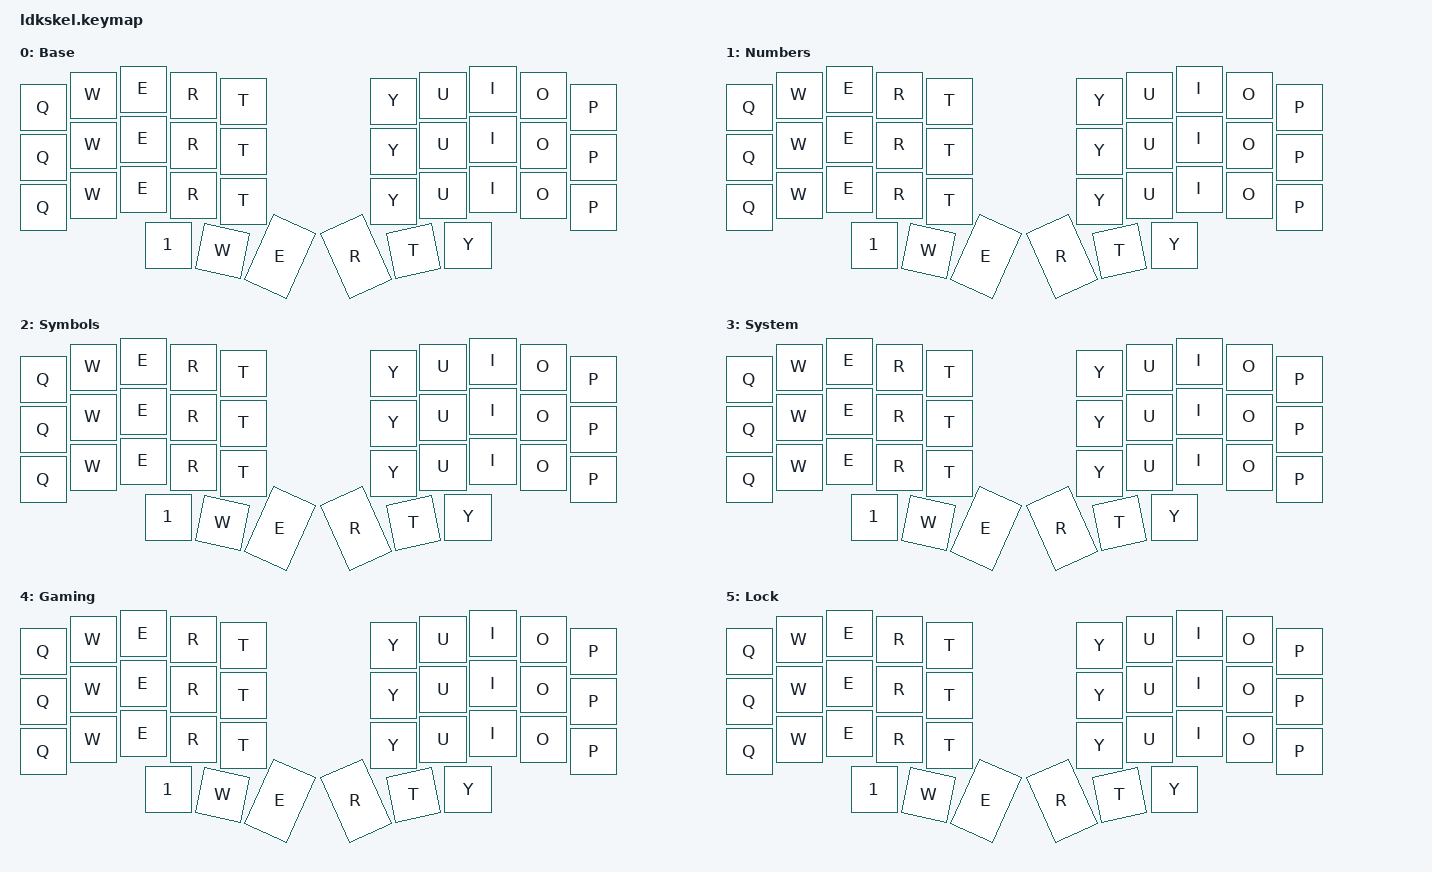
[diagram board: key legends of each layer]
#include <behaviors.dtsi>
#include <dt-bindings/zmk/keys.h>
#include <dt-bindings/zmk/bt.h>

#define BASE 0
#define NUMBERS 1
#define SYMBOLS 2
#define SYSTEM 3
#define GAMING 4
#define LOCK 5

// Behavior Overrides
&lt {
  tapping-term-ms = <200>;
  flavor = "hold-preferred";
};

/ {
  macros {
    // Spotlight
    spotlight: spotlight {
      compatible = "zmk,behavior-macro";
      #binding-cells = <0>;
      bindings = <&macro_press &kp LGUI>, <&macro_tap &kp SPACE>, <&macro_release &kp LGUI>; 
    };

    // Emoji
    windows_emoji: windows_emoji {
      compatible = "zmk,behavior-macro";
      #binding-cells = <0>;
      bindings = <&macro_press &kp LGUI>, <&macro_tap &kp DOT>, <&macro_release &kp LGUI>; 
    };

    // Win + Tab
    win_tab: win_tab {
      compatible = "zmk,behavior-macro";
      #binding = <0>;
      bindings = <&macro_press &kp LGUI>, <&macro_tap &kp TAB>, <&macro_release &kp LGUI>;
    };
  };

  behaviors {
    bm: bottom_row_mods {
      compatible = "zmk,behavior-hold-tap";
      #binding-cells = <2>;
      tapping-term-ms = <135>;
      quick-tap-ms = <0>;
      flavor = "tap-preferred";
      bindings = <&kp>, <&kp>;
    };

    cm: code_row_mods {
      compatible = "zmk,behavior-hold-tap";
      #binding-cells = <2>;
      tapping-term-ms = <200>;
      quick-tap-ms = <0>;
      flavor = "tap-preferred";
      bindings = <&kp>, <&kp>;
      retro-tap;
    };

    sm: space_mod {
      compatible = "zmk,behavior-hold-tap";
      #binding-cells = <2>;
      flavor = "balanced";
      tapping-term-ms = <200>;
      quick-tap-ms = <125>;
      bindings = <&kp>, <&kp>;
    };

    td_multi_mac: tap_dance_multi_mac {
      compatible = "zmk,behavior-tap-dance";
      #binding-cells = <0>;
      tapping-term-ms = <200>;
      bindings = <&sm ESC LALT>, <&spotlight>, <&kp LCTRL>, <&mac_emoji>;
    };

    td_multi_windows: tap_dance_multi_windows {
      compatible = "zmk,behavior-tap-dance";
      #binding-cells = <0>;
      tapping-term-ms = <200>;
      bindings = <&sm ESC LALT>, <&kp LGUI>, <&windows_emoji>;
    };
  };

  keymap {
    compatible = "zmk,keymap";

    mac_default_layer {
      display-name = "Base";
      bindings = <
        &kp Q     &kp W     &kp E     &kp R     &kp T     &kp Y     &kp U     &kp I     &kp O     &kp P
        &kp Q     &kp W     &kp E     &kp R     &kp T     &kp Y     &kp U     &kp I     &kp O     &kp P
        &kp Q     &kp W     &kp E     &kp R     &kp T     &kp Y     &kp U     &kp I     &kp O     &kp P
        &kp 1     &kp W     &kp E     &kp R     &kp T     &kp Y
      >;
    };

    windows_default_layer {
      display-name = "Numbers";
      bindings = <
        &kp Q     &kp W     &kp E     &kp R     &kp T     &kp Y     &kp U     &kp I     &kp O     &kp P
        &kp Q     &kp W     &kp E     &kp R     &kp T     &kp Y     &kp U     &kp I     &kp O     &kp P
        &kp Q     &kp W     &kp E     &kp R     &kp T     &kp Y     &kp U     &kp I     &kp O     &kp P
        &kp 1     &kp W     &kp E     &kp R     &kp T     &kp Y
      >;

    };

    gaming_layer {
      display-name = "Symbols";
      bindings = <
        &kp Q     &kp W     &kp E     &kp R     &kp T     &kp Y     &kp U     &kp I     &kp O     &kp P
        &kp Q     &kp W     &kp E     &kp R     &kp T     &kp Y     &kp U     &kp I     &kp O     &kp P
        &kp Q     &kp W     &kp E     &kp R     &kp T     &kp Y     &kp U     &kp I     &kp O     &kp P
        &kp 1     &kp W     &kp E     &kp R     &kp T     &kp Y
      >;

    };

    code_layer {
      display-name = "System";
      bindings = <
        &kp Q     &kp W     &kp E     &kp R     &kp T     &kp Y     &kp U     &kp I     &kp O     &kp P
        &kp Q     &kp W     &kp E     &kp R     &kp T     &kp Y     &kp U     &kp I     &kp O     &kp P
        &kp Q     &kp W     &kp E     &kp R     &kp T     &kp Y     &kp U     &kp I     &kp O     &kp P
        &kp 1     &kp W     &kp E     &kp R     &kp T     &kp Y
      >;
    };

    number_layer {
      display-name = "Gaming";
      bindings = <
        &kp Q     &kp W     &kp E     &kp R     &kp T     &kp Y     &kp U     &kp I     &kp O     &kp P
        &kp Q     &kp W     &kp E     &kp R     &kp T     &kp Y     &kp U     &kp I     &kp O     &kp P
        &kp Q     &kp W     &kp E     &kp R     &kp T     &kp Y     &kp U     &kp I     &kp O     &kp P
        &kp 1     &kp W     &kp E     &kp R     &kp T     &kp Y
      >;
    };

    function_layer {
      display-name = "Lock";
      bindings = <
        &kp Q     &kp W     &kp E     &kp R     &kp T     &kp Y     &kp U     &kp I     &kp O     &kp P
        &kp Q     &kp W     &kp E     &kp R     &kp T     &kp Y     &kp U     &kp I     &kp O     &kp P
        &kp Q     &kp W     &kp E     &kp R     &kp T     &kp Y     &kp U     &kp I     &kp O     &kp P
        &kp 1     &kp W     &kp E     &kp R     &kp T     &kp Y
      >;
    };
  };
};
